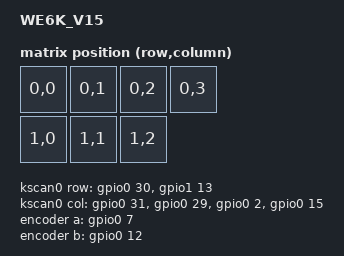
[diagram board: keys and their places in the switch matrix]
/*
 * Copyright (c) 2021 The ZMK Contributors
 *
 * SPDX-License-Identifier: MIT
 */

/dts-v1/;
#include <nordic/nrf52840_qiaa.dtsi>
#include <common/nordic/nrf52840_uf2_boot_mode.dtsi>

#include <dt-bindings/zmk/matrix_transform.h>

#include "we6k_v15-layouts.dtsi"

/ {
    model = "WE6K_V15";
    compatible = "we6k_v15";

    chosen {
        zephyr,code-partition = &code_partition;
        zephyr,sram = &sram0;
        zephyr,flash = &flash0;
        zmk,battery = &vbatt;
        zmk,kscan = &kscan0;
        zmk,physical-layout = &we6k_v15_physical_layout;
    };

    default_transform: keymap_transform_0 {
        compatible = "zmk,matrix-transform";
        columns = <4>;
        rows = <2>;
        map = <
            RC(0,0) RC(0,1) RC(0,2) RC(0,3)
            RC(1,0) RC(1,1) RC(1,2)
        >;
    };

    kscan0: kscan {
        compatible = "zmk,kscan-gpio-matrix";
        wakeup-source;

        diode-direction = "col2row";
        row-gpios
            = <&gpio0 30 (GPIO_ACTIVE_HIGH | GPIO_PULL_DOWN)>
            , <&gpio1 13 (GPIO_ACTIVE_HIGH | GPIO_PULL_DOWN)>
            ;
        col-gpios
            = <&gpio0 31 GPIO_ACTIVE_HIGH>
            , <&gpio0 29 GPIO_ACTIVE_HIGH>
            , <&gpio0 2  GPIO_ACTIVE_HIGH>
            , <&gpio0 15 GPIO_ACTIVE_HIGH>
            ;
    };

    leds {
        compatible = "gpio-leds";
        blue_led: led_0 {
            gpios = <&gpio0 9 GPIO_ACTIVE_HIGH>;
        };
    };

    vbatt: vbatt {
        compatible = "zmk,battery-voltage-divider";
        io-channels = <&adc 3>;
        output-ohms = <2000000>;
        full-ohms = <(2000000 + 820000)>;
    };

    /* EC11 encoder: A = P0.07, B = P0.12 */
    encoder: encoder {
        compatible = "alps,ec11";
        a-gpios = <&gpio0 7 (GPIO_ACTIVE_HIGH | GPIO_PULL_UP)>;
        b-gpios = <&gpio0 12 (GPIO_ACTIVE_HIGH | GPIO_PULL_UP)>;
        steps = <80>;
        status = "okay";
    };

    sensors: sensors {
        compatible = "zmk,keymap-sensors";
        sensors = <&encoder>;
        triggers-per-rotation = <20>;
    };
};

&we6k_v15_physical_layout {
    kscan = <&kscan0>;
    transform = <&default_transform>;
};

&adc {
    status = "okay";
};

&gpiote {
    status = "okay";
};

&gpio0 {
    status = "okay";
};

&gpio1 {
    status = "okay";
};

zephyr_udc0: &usbd {
    status = "okay";
};

&flash0 {
    /*
     * For more information, see:
     * http://docs.zephyrproject.org/latest/devices/dts/flash_partitions.html
     */
    partitions {
        compatible = "fixed-partitions";
        #address-cells = <1>;
        #size-cells = <1>;

        code_partition: partition@0 {
            reg = <0x00000000 0x000d4000>;
        };

        /*
         * The flash starting at 0x000d4000 and ending at
         * 0x000f3fff is reserved for use by the application.
         */

        /*
         * Storage partition will be used by FCB/LittleFS/NVS
         * if enabled.
         */
        storage_partition: partition@d4000 {
            reg = <0x000d4000 0x00020000>;
        };

        boot_partition: partition@f4000 {
            reg = <0x000f4000 0x0000c000>;
        };
    };
};
